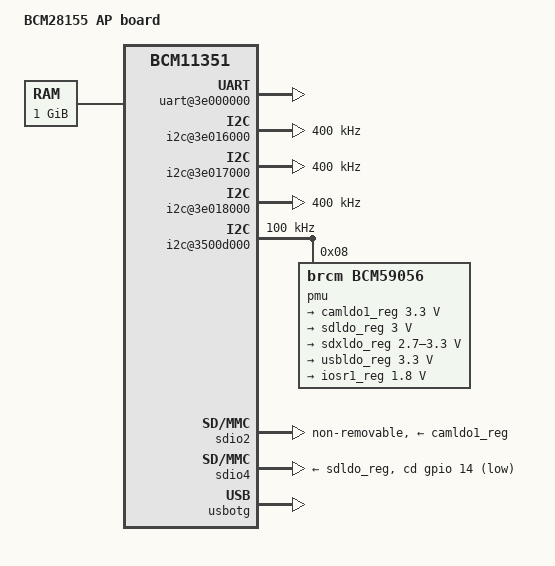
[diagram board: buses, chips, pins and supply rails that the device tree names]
/*
 * Copyright (C) 2013 Broadcom Corporation
 *
 * This program is free software; you can redistribute it and/or
 * modify it under the terms of the GNU General Public License as
 * published by the Free Software Foundation version 2.
 *
 * This program is distributed "as is" WITHOUT ANY WARRANTY of any
 * kind, whether express or implied; without even the implied warranty
 * of MERCHANTABILITY or FITNESS FOR A PARTICULAR PURPOSE.  See the
 * GNU General Public License for more details.
 */

/dts-v1/;

#include <dt-bindings/gpio/gpio.h>

#include "bcm11351.dtsi"

/ {
	model = "BCM28155 AP board";
	compatible = "brcm,bcm28155-ap", "brcm,bcm11351";

	memory {
		reg = <0x80000000 0x40000000>; /* 1 GB */
	};

	uart@3e000000 {
		status = "okay";
	};

	i2c@3e016000 {
		status="okay";
		clock-frequency = <400000>;
	};

	i2c@3e017000 {
		status="okay";
		clock-frequency = <400000>;
	};

	i2c@3e018000 {
		status="okay";
		clock-frequency = <400000>;
	};

	i2c@3500d000 {
		status="okay";
		clock-frequency = <100000>;

		pmu: pmu@8 {
			reg = <0x08>;
		};
	};

	sdio2: sdio@3f190000 {
		non-removable;
		max-frequency = <48000000>;
		vmmc-supply = <&camldo1_reg>;
		vqmmc-supply = <&iosr1_reg>;
		status = "okay";
	};

	sdio4: sdio@3f1b0000 {
		max-frequency = <48000000>;
		cd-gpios = <&gpio 14 GPIO_ACTIVE_LOW>;
		vmmc-supply = <&sdldo_reg>;
		vqmmc-supply = <&sdxldo_reg>;
		status = "okay";
	};

	usbotg: usb@3f120000 {
		vusb_d-supply = <&usbldo_reg>;
		vusb_a-supply = <&iosr1_reg>;
		status = "okay";
	};

	usbphy: usb-phy@3f130000 {
		status = "okay";
	};
};

#include "bcm59056.dtsi"

&pmu {
	compatible = "brcm,bcm59056";
	interrupts = <GIC_SPI 215 IRQ_TYPE_LEVEL_HIGH>;
	regulators {
		camldo1_reg: camldo1 {
			regulator-min-microvolt = <3300000>;
			regulator-max-microvolt = <3300000>;
			regulator-always-on;
		};

		sdldo_reg: sdldo {
			regulator-min-microvolt = <3000000>;
			regulator-max-microvolt = <3000000>;
		};

		sdxldo_reg: sdxldo {
			regulator-min-microvolt = <2700000>;
			regulator-max-microvolt = <3300000>;
		};

		usbldo_reg: usbldo {
			regulator-min-microvolt = <3300000>;
			regulator-max-microvolt = <3300000>;
			regulator-always-on;
		};

		iosr1_reg: iosr1 {
			regulator-min-microvolt = <1800000>;
			regulator-max-microvolt = <1800000>;
			regulator-always-on;
		};
	};
};
